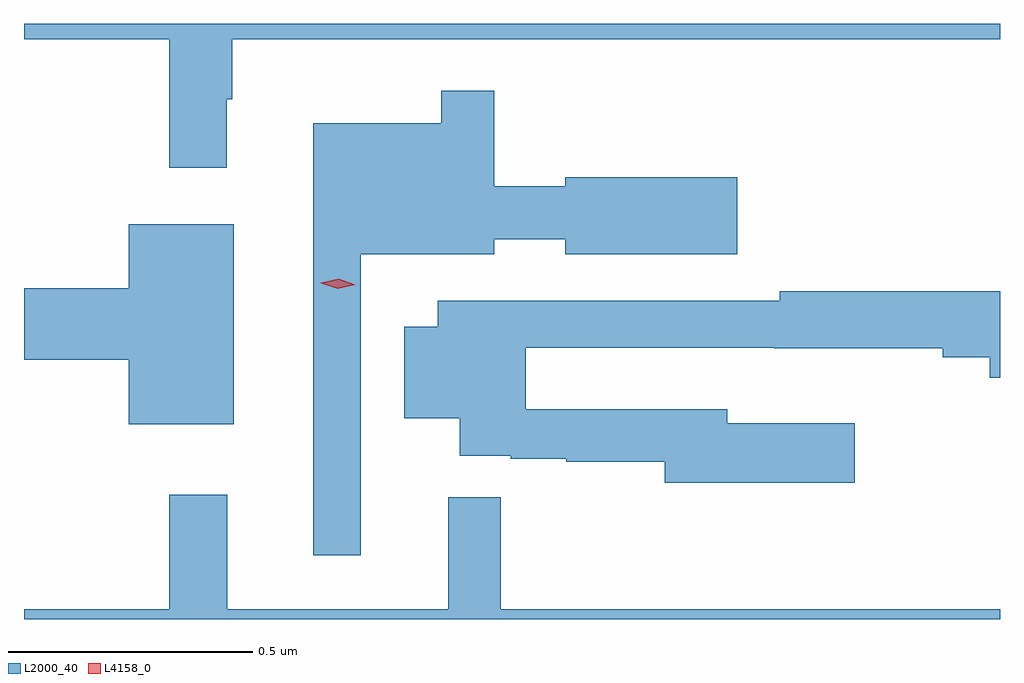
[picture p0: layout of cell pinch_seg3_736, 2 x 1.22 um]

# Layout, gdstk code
import gdstk
lib = gdstk.Library(unit=1e-6, precision=1e-09)
def P(c, l, *ps):  # polygons
    for p in ps: c.add(gdstk.Polygon(p, *l))
L2000_40 = (2000, 40)
L4158_0 = (4158, 0)

pinch_seg3_736 = lib.new_cell('pinch_seg3_736')
P(pinch_seg3_736, L2000_40, [(875.512,748.745),(875.524,748.745),(875.524,748.868),(877.097,748.868),(877.097,748.9),(875.097,748.9),(875.097,748.868),(875.395,748.868),(875.395,748.605),(875.512,748.605)],
  [(875.787,748.427),(876.061,748.427),(876.061,748.458),(876.206,748.458),(876.206,748.427),(876.559,748.427),(876.559,748.585),(876.206,748.585),(876.206,748.567),(876.061,748.567),(876.061,748.762),(875.952,748.762),(875.952,748.696),(875.69,748.696),(875.69,747.81),(875.787,747.81)],
  [(875.527,748.489),(875.312,748.489),(875.312,748.358),(875.097,748.358),(875.097,748.211),(875.312,748.211),(875.312,748.079),(875.527,748.079)],
  [(876.799,748.081),(876.538,748.081),(876.538,748.11),(876.125,748.11),(876.125,748.236),(876.634,748.236),(876.634,748.235),(876.98,748.235),(876.98,748.216),(877.076,748.216),(877.076,748.174),(877.097,748.174),(877.097,748.352),(876.646,748.352),(876.646,748.332),(875.945,748.332),(875.945,748.279),(875.876,748.279),(875.876,748.091),(875.99,748.091),(875.99,748.014),(876.094,748.014),(876.094,748.008),(876.208,748.008),(876.208,748.002),(876.41,748.002),(876.41,747.959),(876.799,747.959)],
  [(877.097,747.7),(876.074,747.7),(876.074,747.929),(875.966,747.929),(875.966,747.7),(875.513,747.7),(875.513,747.934),(875.395,747.934),(875.395,747.7),(875.097,747.7),(875.097,747.679),(877.097,747.679)])
P(pinch_seg3_736, L4158_0, [(875.74,748.357),(875.706,748.368),(875.705,748.369),(875.706,748.369),(875.742,748.377),(875.776,748.365),(875.776,748.365),(875.776,748.365)])

lib.write_gds('pinch_seg3_736.gds')
